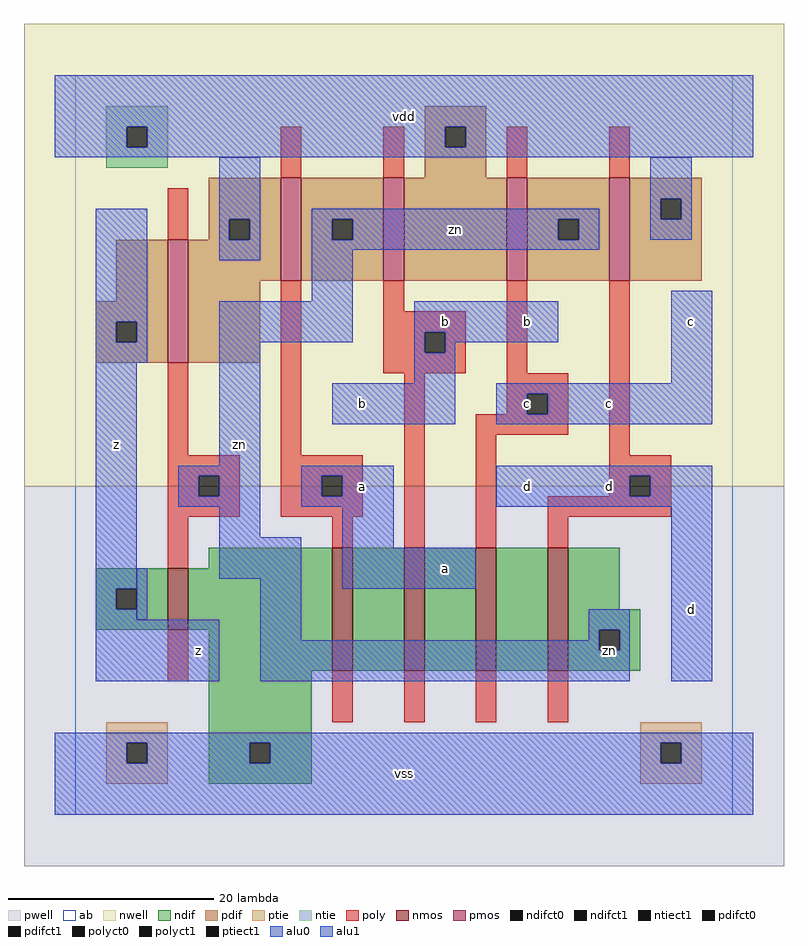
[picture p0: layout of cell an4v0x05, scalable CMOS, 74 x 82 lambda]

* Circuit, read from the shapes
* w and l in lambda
.subckt an4v0x05 a b c d vdd vss z zn
M1 vss zn z vss nfet w=6 l=2
M2 n1 a vss vss nfet w=12 l=2
M3 n2 b n1 vss nfet w=12 l=2
M4 n3 c n2 vss nfet w=12 l=2
M5 zn d n3 vss nfet w=12 l=2
M6 vdd zn z vdd pfet w=12 l=2
M7 zn a vdd vdd pfet w=10 l=2
M8 vdd b zn vdd pfet w=10 l=2
M9 zn c vdd vdd pfet w=10 l=2
M10 vdd d zn vdd pfet w=10 l=2
.ends

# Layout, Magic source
magic
tech scmos
<< ab >>
rect 0 0 64 72
<< nwell >>
rect -5 32 69 77
<< pwell >>
rect -5 -5 69 32
<< poly >>
rect 20 62 22 67
rect 30 62 32 67
rect 42 62 44 67
rect 52 62 54 67
rect 9 56 11 61
rect 9 35 11 44
rect 20 35 22 52
rect 30 49 32 52
rect 30 47 38 49
rect 30 45 34 47
rect 36 45 38 47
rect 30 43 38 45
rect 42 43 44 52
rect 9 33 16 35
rect 9 31 12 33
rect 14 31 16 33
rect 9 29 16 31
rect 20 33 28 35
rect 20 31 24 33
rect 26 31 28 33
rect 20 29 28 31
rect 9 24 11 29
rect 25 26 27 29
rect 32 26 34 43
rect 42 41 48 43
rect 42 39 44 41
rect 46 39 48 41
rect 39 37 48 39
rect 39 26 41 37
rect 52 35 54 52
rect 52 33 58 35
rect 52 31 54 33
rect 56 31 58 33
rect 46 29 58 31
rect 46 26 48 29
rect 9 13 11 18
rect 25 9 27 14
rect 32 9 34 14
rect 39 9 41 14
rect 46 9 48 14
<< ndif >>
rect 13 24 25 26
rect 2 22 9 24
rect 2 20 4 22
rect 6 20 9 22
rect 2 18 9 20
rect 11 18 25 24
rect 13 14 25 18
rect 27 14 32 26
rect 34 14 39 26
rect 41 14 46 26
rect 48 20 53 26
rect 48 18 55 20
rect 48 16 51 18
rect 53 16 55 18
rect 48 14 55 16
rect 13 7 23 14
rect 13 5 17 7
rect 19 5 23 7
rect 13 3 23 5
<< pdif >>
rect 34 67 40 69
rect 34 65 36 67
rect 38 65 40 67
rect 34 62 40 65
rect 13 58 20 62
rect 13 56 15 58
rect 17 56 20 58
rect 4 50 9 56
rect 2 48 9 50
rect 2 46 4 48
rect 6 46 9 48
rect 2 44 9 46
rect 11 52 20 56
rect 22 58 30 62
rect 22 56 25 58
rect 27 56 30 58
rect 22 52 30 56
rect 32 52 42 62
rect 44 58 52 62
rect 44 56 47 58
rect 49 56 52 58
rect 44 52 52 56
rect 54 60 61 62
rect 54 58 57 60
rect 59 58 61 60
rect 54 52 61 58
rect 11 44 18 52
<< alu1 >>
rect -2 67 66 72
rect -2 65 5 67
rect 7 65 36 67
rect 38 65 66 67
rect -2 64 66 65
rect 2 48 7 59
rect 2 46 4 48
rect 6 46 7 48
rect 2 44 7 46
rect 33 47 47 50
rect 2 22 6 44
rect 33 45 34 47
rect 36 46 47 47
rect 36 45 37 46
rect 33 42 37 45
rect 58 42 62 51
rect 25 38 37 42
rect 41 41 62 42
rect 41 39 44 41
rect 46 39 62 41
rect 41 38 62 39
rect 22 33 31 34
rect 22 31 24 33
rect 26 31 31 33
rect 22 30 31 31
rect 41 33 62 34
rect 41 31 54 33
rect 56 31 62 33
rect 41 30 62 31
rect 2 20 4 22
rect 2 19 6 20
rect 2 13 14 19
rect 26 26 31 30
rect 26 22 39 26
rect 58 13 62 30
rect -2 7 66 8
rect -2 5 5 7
rect 7 5 17 7
rect 19 5 57 7
rect 59 5 66 7
rect -2 0 66 5
<< ptie >>
rect 3 7 9 9
rect 3 5 5 7
rect 7 5 9 7
rect 3 3 9 5
rect 55 7 61 9
rect 55 5 57 7
rect 59 5 61 7
rect 55 3 61 5
<< ntie >>
rect 3 67 9 69
rect 3 65 5 67
rect 7 65 9 67
rect 3 63 9 65
<< nmos >>
rect 9 18 11 24
rect 25 14 27 26
rect 32 14 34 26
rect 39 14 41 26
rect 46 14 48 26
<< pmos >>
rect 9 44 11 56
rect 20 52 22 62
rect 30 52 32 62
rect 42 52 44 62
rect 52 52 54 62
<< polyct0 >>
rect 12 31 14 33
<< polyct1 >>
rect 34 45 36 47
rect 24 31 26 33
rect 44 39 46 41
rect 54 31 56 33
<< ndifct0 >>
rect 51 16 53 18
<< ndifct1 >>
rect 4 20 6 22
rect 17 5 19 7
<< ntiect1 >>
rect 5 65 7 67
<< ptiect1 >>
rect 5 5 7 7
rect 57 5 59 7
<< pdifct0 >>
rect 15 56 17 58
rect 25 56 27 58
rect 47 56 49 58
rect 57 58 59 60
<< pdifct1 >>
rect 36 65 38 67
rect 4 46 6 48
<< alu0 >>
rect 14 58 18 64
rect 56 60 60 64
rect 14 56 15 58
rect 17 56 18 58
rect 14 54 18 56
rect 23 58 51 59
rect 23 56 25 58
rect 27 56 47 58
rect 49 56 51 58
rect 56 58 57 60
rect 59 58 60 60
rect 56 56 60 58
rect 23 55 51 56
rect 23 50 27 55
rect 14 46 27 50
rect 14 34 18 46
rect 10 33 18 34
rect 10 31 12 33
rect 14 31 18 33
rect 10 30 18 31
rect 14 27 18 30
rect 6 19 7 24
rect 14 23 22 27
rect 18 17 22 23
rect 50 18 54 20
rect 50 17 51 18
rect 18 16 51 17
rect 53 16 54 18
rect 18 13 54 16
<< labels >>
rlabel alu0 16 36 16 36 6 zn
rlabel alu0 52 16 52 16 6 zn
rlabel alu0 37 57 37 57 6 zn
rlabel alu1 12 16 12 16 6 z
rlabel alu1 4 36 4 36 6 z
rlabel alu1 28 32 28 32 6 a
rlabel alu1 28 40 28 40 6 b
rlabel alu1 32 4 32 4 6 vss
rlabel alu1 36 24 36 24 6 a
rlabel alu1 44 32 44 32 6 d
rlabel alu1 44 40 44 40 6 c
rlabel alu1 36 48 36 48 6 b
rlabel alu1 44 48 44 48 6 b
rlabel alu1 32 68 32 68 6 vdd
rlabel alu1 60 20 60 20 6 d
rlabel alu1 52 32 52 32 6 d
rlabel alu1 52 40 52 40 6 c
rlabel alu1 60 48 60 48 6 c
<< end >>
